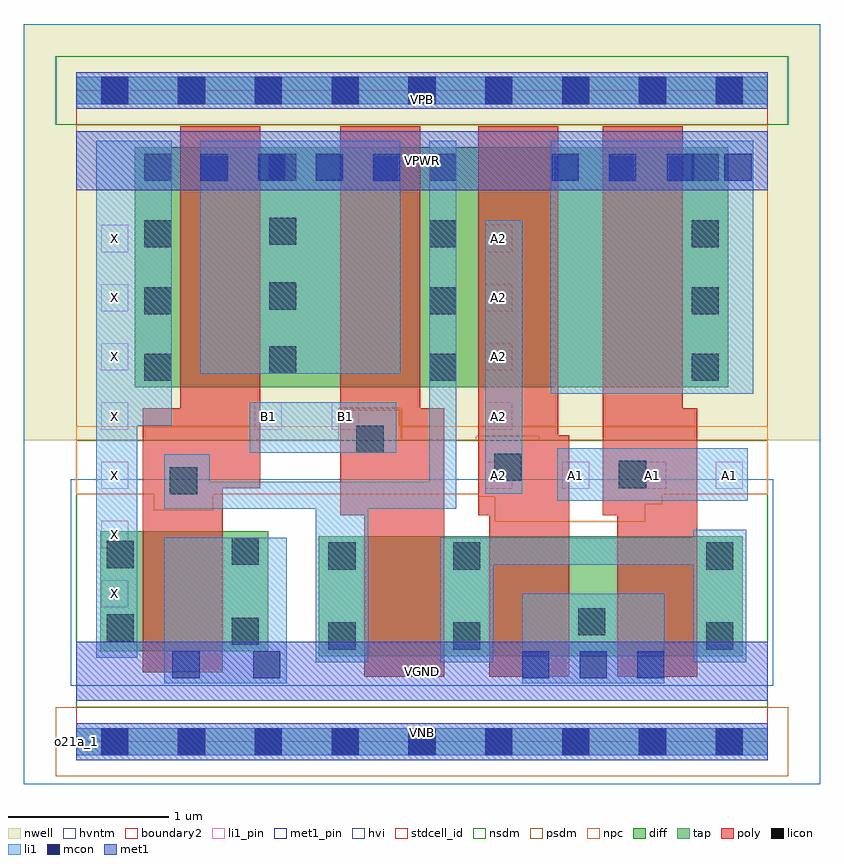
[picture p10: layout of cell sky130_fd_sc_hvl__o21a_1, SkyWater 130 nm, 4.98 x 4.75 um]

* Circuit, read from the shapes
.subckt sky130_fd_sc_hvl__o21a_1 A1 A2 B1 VGND VNB VPB VPWR X
XM1 VGND n1 X VNB sky130_fd_pr__nfet_g5v0d10v5 w=0.75 l=0.5
XM2 n2 B1 n1 VNB sky130_fd_pr__nfet_g5v0d10v5 w=0.75 l=0.5
XM3 VGND A2 n2 VNB sky130_fd_pr__nfet_g5v0d10v5 w=0.75 l=0.5
XM4 n2 A1 VGND VNB sky130_fd_pr__nfet_g5v0d10v5 w=0.75 l=0.5
XM5 VPWR n1 X VPB sky130_fd_pr__pfet_g5v0d10v5 w=1.5 l=0.5
XM6 n1 B1 VPWR VPB sky130_fd_pr__pfet_g5v0d10v5 w=1.5 l=0.5
XM7 n3 A2 n1 VPB sky130_fd_pr__pfet_g5v0d10v5 w=1.5 l=0.5
XM8 VPWR A1 n3 VPB sky130_fd_pr__pfet_g5v0d10v5 w=1.5 l=0.5
.ends

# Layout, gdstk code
import gdstk
lib = gdstk.Library(unit=1e-6, precision=1e-09)
def R(c, l, rs):  # rectangles x0, y0, x1, y1
    for r in rs: c.add(gdstk.rectangle(r[:2], r[2:], *l))
def A(c, l, x, y, w, h, nx, ny, dx, dy):  # array of equal rectangles
    R(c, l, [(x+i*dx, y+j*dy, x+i*dx+w, y+j*dy+h) for i in range(nx) for j in range(ny)])
def P(c, l, *ps):  # polygons
    for p in ps: c.add(gdstk.Polygon(p, *l))
nwell = (64, 20)
diff = (65, 20)
tap = (65, 44)
poly = (66, 20)
licon = (66, 44)
li1_pin = (67, 16)
li1 = (67, 20)
mcon = (67, 44)
met1_pin = (68, 16)
met1 = (68, 20)
hvi = (75, 20)
stdcell_id = (81, 4)
nsdm = (93, 44)
psdm = (94, 20)
npc = (95, 20)
hvntm = (125, 20)
boundary2 = (236, 0)

sky130_fd_sc_hvl__o21a_1 = lib.new_cell('sky130_fd_sc_hvl__o21a_1')
R(sky130_fd_sc_hvl__o21a_1, nwell, [(-0.33,1.885,4.65,4.485)])
R(sky130_fd_sc_hvl__o21a_1, diff, [(1.515,0.535,4.165,1.285), (0.15,0.565,1.2,1.315), (0.365,2.215,4.075,3.715)])
R(sky130_fd_sc_hvl__o21a_1, tap, [(0,-0.085,4.32,0.085), (0,3.985,4.32,4.155)])
P(sky130_fd_sc_hvl__o21a_1, poly, [(1.15,3.845),(0.65,3.845),(0.65,2.085),(0.415,2.085),(0.415,0.435),(0.915,0.435),(0.915,1.585),(1.15,1.585)],
  [(2.3,2.085),(2.15,2.085),(2.15,3.845),(1.65,3.845),(1.65,1.415),(1.8,1.415),(1.8,0.405),(2.3,0.405)],
  [(3.08,1.915),(3.01,1.915),(3.01,3.845),(2.51,3.845),(2.51,1.415),(2.58,1.415),(2.58,0.405),(3.08,0.405)],
  [(3.88,2.085),(3.79,2.085),(3.79,3.845),(3.29,3.845),(3.29,1.415),(3.38,1.415),(3.38,0.405),(3.88,0.405)])
A(sky130_fd_sc_hvl__o21a_1, licon, 0.155, -0.085, 0.17, 0.17, 9, 2, 0.48, 4.07)
R(sky130_fd_sc_hvl__o21a_1, licon, [(1.575,0.575,1.745,0.745), (2.355,0.575,2.525,0.745), (3.935,0.575,4.105,0.745), (0.97,0.605,1.14,0.775), (0.19,0.625,0.36,0.795), (3.135,0.665,3.305,0.835), (1.575,1.075,1.745,1.245), (2.355,1.075,2.525,1.245), (3.935,1.075,4.105,1.245), (0.19,1.085,0.36,1.255), (0.97,1.105,1.14,1.275), (0.585,1.545,0.755,1.715), (3.39,1.585,3.56,1.755), (2.61,1.63,2.78,1.8), (1.75,1.805,1.92,1.975), (0.425,2.255,0.595,2.425), (2.205,2.255,2.375,2.425), (3.845,2.255,4.015,2.425), (1.205,2.3,1.375,2.47), (0.425,2.67,0.595,2.84), (2.205,2.67,2.375,2.84), (3.845,2.67,4.015,2.84), (1.205,2.7,1.375,2.87), (0.425,3.09,0.595,3.26), (2.205,3.09,2.375,3.26), (3.845,3.09,4.015,3.26), (1.205,3.105,1.375,3.275), (0.425,3.505,0.595,3.675), (1.205,3.505,1.375,3.675), (2.205,3.505,2.375,3.675), (3.845,3.505,4.015,3.675)])
A(sky130_fd_sc_hvl__o21a_1, li1_pin, 0.155, 0.84, 0.17, 0.17, 1, 7, 0, 0.37)
A(sky130_fd_sc_hvl__o21a_1, li1_pin, 2.555, 1.58, 0.17, 0.17, 4, 1, 0.48, 0)
A(sky130_fd_sc_hvl__o21a_1, li1_pin, 2.555, 1.95, 0.17, 0.17, 1, 4, 0, 0.37)
R(sky130_fd_sc_hvl__o21a_1, li1_pin, [(1.115,1.95,1.285,2.12), (1.595,1.95,1.765,2.12)])
R(sky130_fd_sc_hvl__o21a_1, li1, [(0,-0.085,4.32,0.085), (0.55,0.365,1.315,1.275), (2.785,0.365,3.675,0.925), (3.005,1.505,4.195,1.835), (2.555,1.55,2.785,3.26), (1.085,1.805,2,2.12), (2.965,2.175,4.23,3.755), (0.775,2.3,2.025,3.755), (0,3.985,4.32,4.155)])
P(sky130_fd_sc_hvl__o21a_1, li1, [(0.595,3.755),(0.125,3.755),(0.125,0.525),(0.38,0.525),(0.38,1.975),(0.595,1.975)],
  [(2.375,3.755),(2.205,3.755),(2.205,1.625),(0.835,1.625),(0.835,1.795),(0.55,1.795),(0.55,1.455),(1.495,1.455),(1.495,0.495),(1.825,0.495),(1.825,1.455),(2.375,1.455)],
  [(4.185,1.325),(3.855,1.325),(3.855,1.275),(2.275,1.275),(2.275,0.495),(2.605,0.495),(2.605,1.105),(3.855,1.105),(3.855,0.495),(4.185,0.495)])
A(sky130_fd_sc_hvl__o21a_1, mcon, 2.785, 0.395, 0.17, 0.17, 3, 1, 0.36, 0)
A(sky130_fd_sc_hvl__o21a_1, mcon, 0.775, 3.505, 0.17, 0.17, 4, 1, 0.36, 0)
A(sky130_fd_sc_hvl__o21a_1, mcon, 2.97, 3.505, 0.17, 0.17, 4, 1, 0.36, 0)
R(sky130_fd_sc_hvl__o21a_1, mcon, [(0.155,-0.085,0.325,0.085), (0.155,-0.085,0.325,0.085), (0.635,-0.085,0.805,0.085), (0.635,-0.085,0.805,0.085), (1.115,-0.085,1.285,0.085), (1.115,-0.085,1.285,0.085), (1.595,-0.085,1.765,0.085), (1.595,-0.085,1.765,0.085), (2.075,-0.085,2.245,0.085), (2.075,-0.085,2.245,0.085), (2.555,-0.085,2.725,0.085), (2.555,-0.085,2.725,0.085), (3.035,-0.085,3.205,0.085), (3.035,-0.085,3.205,0.085), (3.515,-0.085,3.685,0.085), (3.515,-0.085,3.685,0.085), (3.995,-0.085,4.165,0.085), (3.995,-0.085,4.165,0.085), (0.6,0.395,0.77,0.565), (1.105,0.395,1.275,0.565), (0.155,3.985,0.325,4.155), (0.155,3.985,0.325,4.155), (0.635,3.985,0.805,4.155), (0.635,3.985,0.805,4.155), (1.115,3.985,1.285,4.155), (1.115,3.985,1.285,4.155), (1.595,3.985,1.765,4.155), (1.595,3.985,1.765,4.155), (2.075,3.985,2.245,4.155), (2.075,3.985,2.245,4.155), (2.555,3.985,2.725,4.155), (2.555,3.985,2.725,4.155), (3.035,3.985,3.205,4.155), (3.035,3.985,3.205,4.155), (3.515,3.985,3.685,4.155), (3.515,3.985,3.685,4.155), (3.995,3.985,4.165,4.155), (3.995,3.985,4.165,4.155)])
R(sky130_fd_sc_hvl__o21a_1, met1_pin, [(0,0,4.32,0.115), (0,0.255,4.32,0.625), (0,3.445,4.32,3.815), (0,3.955,4.32,4.07)])
R(sky130_fd_sc_hvl__o21a_1, met1, [(0,-0.115,4.32,0.115), (0,0.255,4.32,0.625), (0,3.445,4.32,3.815), (0,3.955,4.32,4.185)])
R(sky130_fd_sc_hvl__o21a_1, hvi, [(-0.33,-0.265,4.65,4.485)])
R(sky130_fd_sc_hvl__o21a_1, stdcell_id, [(0,0,4.32,4.07)])
R(sky130_fd_sc_hvl__o21a_1, nsdm, [(0,0.215,4.32,1.885), (-0.13,3.855,4.45,4.285), (0,3.855,4.32,4.07)])
R(sky130_fd_sc_hvl__o21a_1, psdm, [(-0.13,-0.215,4.45,0.215)])
P(sky130_fd_sc_hvl__o21a_1, psdm, [(4.32,3.855),(0,3.855),(0,1.885),(1.64,1.885),(1.64,2.085),(2.03,2.085),(2.03,1.885),(2.5,1.885),(2.5,1.91),(2.89,1.91),(2.89,1.885),(4.32,1.885)])
P(sky130_fd_sc_hvl__o21a_1, npc, [(4.32,1.97),(2.02,1.97),(2.02,2.075),(1.65,2.075),(1.65,1.97),(0,1.97),(0,1.545),(0.485,1.545),(0.485,1.445),(0.855,1.445),(0.855,1.545),(2.51,1.545),(2.51,1.53),(2.615,1.53),(2.615,1.375),(3.555,1.375),(3.555,1.485),(3.66,1.485),(3.66,1.545),(4.32,1.545)])
R(sky130_fd_sc_hvl__o21a_1, hvntm, [(-0.035,0.35,4.355,1.64)])
R(sky130_fd_sc_hvl__o21a_1, boundary2, [(0,0,4.32,4.07)])
sky130_fd_sc_hvl__o21a_1.add(gdstk.Label('o21a_1', (0,0), layer=83, texttype=44))
sky130_fd_sc_hvl__o21a_1.add(gdstk.Label('VGND', (2.16,0.44), layer=68, texttype=5))
sky130_fd_sc_hvl__o21a_1.add(gdstk.Label('VNB', (2.16,0.058), layer=68, texttype=5))
sky130_fd_sc_hvl__o21a_1.add(gdstk.Label('VPWR', (2.16,3.63), layer=68, texttype=5))
sky130_fd_sc_hvl__o21a_1.add(gdstk.Label('VPB', (2.16,4.013), layer=68, texttype=5))
sky130_fd_sc_hvl__o21a_1.add(gdstk.Label('A1', (3.12,1.665), layer=67, texttype=5))
sky130_fd_sc_hvl__o21a_1.add(gdstk.Label('A1', (3.6,1.665), layer=67, texttype=5))
sky130_fd_sc_hvl__o21a_1.add(gdstk.Label('A1', (4.08,1.665), layer=67, texttype=5))
sky130_fd_sc_hvl__o21a_1.add(gdstk.Label('A2', (2.64,1.665), layer=67, texttype=5))
sky130_fd_sc_hvl__o21a_1.add(gdstk.Label('A2', (2.64,2.035), layer=67, texttype=5))
sky130_fd_sc_hvl__o21a_1.add(gdstk.Label('A2', (2.64,2.405), layer=67, texttype=5))
sky130_fd_sc_hvl__o21a_1.add(gdstk.Label('A2', (2.64,2.775), layer=67, texttype=5))
sky130_fd_sc_hvl__o21a_1.add(gdstk.Label('A2', (2.64,3.145), layer=67, texttype=5))
sky130_fd_sc_hvl__o21a_1.add(gdstk.Label('B1', (1.2,2.035), layer=67, texttype=5))
sky130_fd_sc_hvl__o21a_1.add(gdstk.Label('B1', (1.68,2.035), layer=67, texttype=5))
sky130_fd_sc_hvl__o21a_1.add(gdstk.Label('X', (0.24,0.925), layer=67, texttype=5))
sky130_fd_sc_hvl__o21a_1.add(gdstk.Label('X', (0.24,1.295), layer=67, texttype=5))
sky130_fd_sc_hvl__o21a_1.add(gdstk.Label('X', (0.24,1.665), layer=67, texttype=5))
sky130_fd_sc_hvl__o21a_1.add(gdstk.Label('X', (0.24,2.035), layer=67, texttype=5))
sky130_fd_sc_hvl__o21a_1.add(gdstk.Label('X', (0.24,2.405), layer=67, texttype=5))
sky130_fd_sc_hvl__o21a_1.add(gdstk.Label('X', (0.24,2.775), layer=67, texttype=5))
sky130_fd_sc_hvl__o21a_1.add(gdstk.Label('X', (0.24,3.145), layer=67, texttype=5))

lib.write_gds('sky130_fd_sc_hvl__o21a_1.gds')
